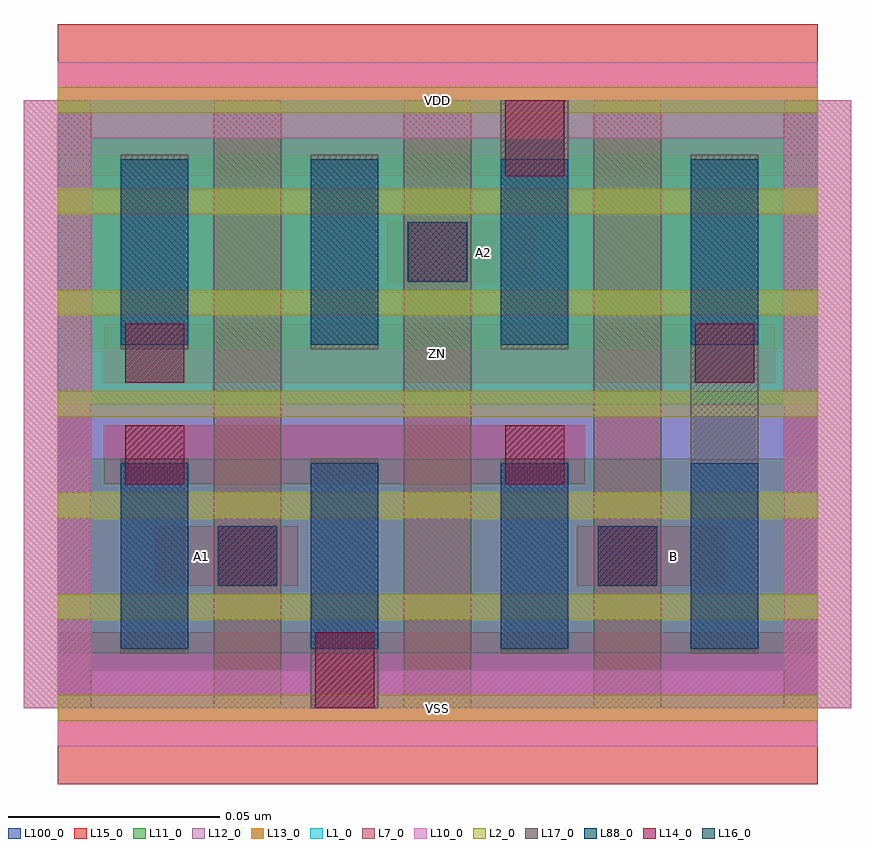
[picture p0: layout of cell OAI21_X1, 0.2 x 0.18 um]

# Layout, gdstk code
import gdstk
lib = gdstk.Library(unit=1e-6, precision=1e-09)
def R(c, l, rs):  # rectangles x0, y0, x1, y1
    for r in rs: c.add(gdstk.rectangle(r[:2], r[2:], *l))
def A(c, l, x, y, w, h, nx, ny, dx, dy):  # array of equal rectangles
    R(c, l, [(x+i*dx, y+j*dy, x+i*dx+w, y+j*dy+h) for i in range(nx) for j in range(ny)])
def P(c, l, *ps):  # polygons
    for p in ps: c.add(gdstk.Polygon(p, *l))
L1_0 = (1, 0)
L2_0 = (2, 0)
L7_0 = (7, 0)
L10_0 = (10, 0)
L11_0 = (11, 0)
L12_0 = (12, 0)
L13_0 = (13, 0)
L14_0 = (14, 0)
L15_0 = (15, 0)
L16_0 = (16, 0)
L17_0 = (17, 0)
L88_0 = (88, 0)
L100_0 = (100, 0)

oai21_x1 = lib.new_cell('OAI21_X1')
R(oai21_x1, L1_0, [(0,0.072,0.18,0.144)])
A(oai21_x1, L2_0, 0, -0.003, 0.18, 0.006, 1, 7, 0, 0.024)
A(oai21_x1, L7_0, -0.008, 0, 0.016, 0.144, 5, 1, 0.045, 0)
P(oai21_x1, L10_0, [(0,-0.009),(0,0),(-0.008,0),(-0.008,0.135),(0.008,0.135),(0.008,0.009),(0.172,0.009),(0.172,0.135),(-0.008,0.135),(-0.008,0.144),(0,0.144),(0,0.153),(0.18,0.153),(0.18,0.144),(0.188,0.144),(0.188,0),(0.18,0),(0.18,-0.009)])
R(oai21_x1, L11_0, [(0,0.013,0.18,0.059), (0,0.085,0.18,0.131)])
R(oai21_x1, L12_0, [(0,0,0.18,0.072)])
R(oai21_x1, L13_0, [(0,0.072,0.18,0.144)])
R(oai21_x1, L14_0, [(0.061,0,0.075,0.018), (0.038,0.029,0.052,0.043), (0.128,0.029,0.142,0.043), (0.016,0.053,0.03,0.067), (0.106,0.053,0.12,0.067), (0.016,0.077,0.03,0.091), (0.151,0.077,0.165,0.091), (0.083,0.101,0.097,0.115), (0.106,0.126,0.12,0.144)])
R(oai21_x1, L15_0, [(0,-0.018,0.18,0.018), (0.023,0.029,0.057,0.043), (0.123,0.029,0.158,0.043), (0.011,0.053,0.125,0.067), (0.011,0.077,0.17,0.091), (0.078,0.101,0.113,0.115), (0,0.126,0.18,0.162)])
R(oai21_x1, L16_0, [(0.038,0.029,0.052,0.043), (0.128,0.029,0.142,0.043), (0.083,0.101,0.097,0.115)])
R(oai21_x1, L17_0, [(0.06,0,0.076,0.059), (0.015,0.013,0.031,0.059), (0.105,0.013,0.121,0.059), (0.15,0.013,0.166,0.131), (0.015,0.085,0.031,0.131), (0.06,0.085,0.076,0.131), (0.105,0.085,0.121,0.144)])
A(oai21_x1, L88_0, 0.015, 0.014, 0.016, 0.044, 4, 2, 0.045, 0.072)
R(oai21_x1, L100_0, [(0,0,0.18,0.144)])
oai21_x1.add(gdstk.Label('ZN', (0.09,0.084), layer=15, texttype=251))
oai21_x1.add(gdstk.Label('VSS', (0.09,0), layer=15, texttype=251))
oai21_x1.add(gdstk.Label('VDD', (0.09,0.144), layer=15, texttype=251))
oai21_x1.add(gdstk.Label('A1', (0.034,0.036), layer=15, texttype=251))
oai21_x1.add(gdstk.Label('VSS', (0.09,0), layer=15, texttype=251))
oai21_x1.add(gdstk.Label('VDD', (0.09,0.144), layer=15, texttype=251))
oai21_x1.add(gdstk.Label('B', (0.146,0.036), layer=15, texttype=251))
oai21_x1.add(gdstk.Label('VSS', (0.09,0), layer=15, texttype=251))
oai21_x1.add(gdstk.Label('VDD', (0.09,0.144), layer=15, texttype=251))
oai21_x1.add(gdstk.Label('A2', (0.101,0.108), layer=15, texttype=251))
oai21_x1.add(gdstk.Label('VSS', (0.09,0), layer=15, texttype=251))
oai21_x1.add(gdstk.Label('VDD', (0.09,0.144), layer=15, texttype=251))
oai21_x1.add(gdstk.Label('VSS', (0.09,0), layer=3, texttype=251))
oai21_x1.add(gdstk.Label('VSS', (0.09,0), layer=3, texttype=251))
oai21_x1.add(gdstk.Label('VSS', (0.09,0), layer=3, texttype=251))
oai21_x1.add(gdstk.Label('VSS', (0.09,0), layer=3, texttype=251))
oai21_x1.add(gdstk.Label('VDD', (0.09,0.144), layer=1, texttype=251))
oai21_x1.add(gdstk.Label('VDD', (0.09,0.144), layer=1, texttype=251))
oai21_x1.add(gdstk.Label('VDD', (0.09,0.144), layer=1, texttype=251))
oai21_x1.add(gdstk.Label('VDD', (0.09,0.144), layer=1, texttype=251))

lib.write_gds('OAI21_X1.gds')
